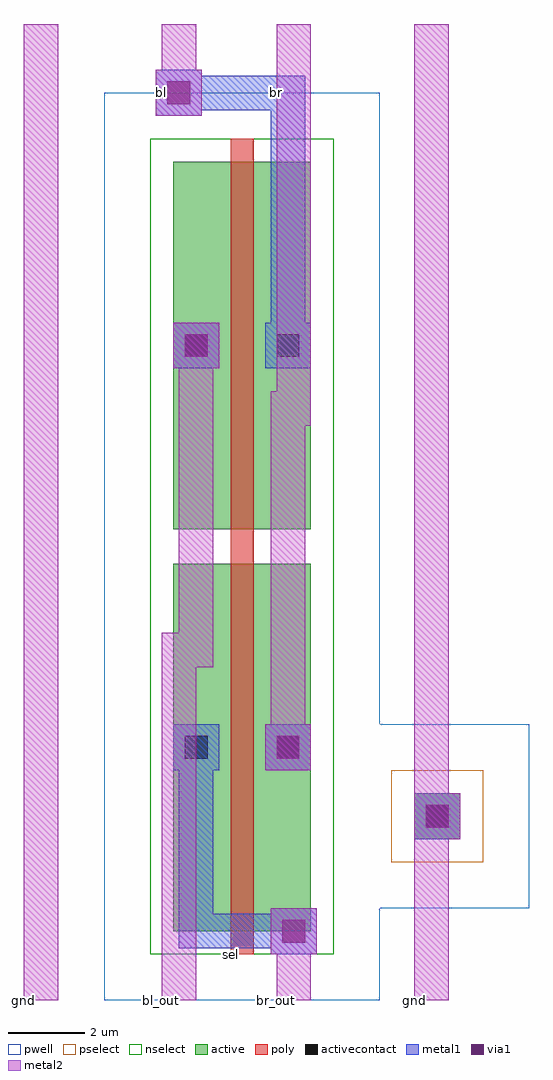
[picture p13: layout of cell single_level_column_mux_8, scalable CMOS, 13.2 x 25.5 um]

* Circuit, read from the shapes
.subckt single_level_column_mux_8 bl bl_out br br_out gnd sel
M1 br sel br_out gnd nfet w=9.6u l=0.6u
M2 bl sel bl_out gnd nfet w=9.6u l=0.6u
.ends

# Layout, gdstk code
import gdstk
lib = gdstk.Library(unit=1e-6, precision=1e-09)
def R(c, l, rs):  # rectangles x0, y0, x1, y1
    for r in rs: c.add(gdstk.rectangle(r[:2], r[2:], *l))
pwell = (41, 0)
active = (43, 0)
pselect = (44, 0)
nselect = (45, 0)
poly = (46, 0)
activecontact = (48, 0)
metal1 = (49, 0)
via1 = (50, 0)
metal2 = (51, 0)

active_contact_metal1_1x = lib.new_cell('active_contact_metal1_1x1_np')
R(active_contact_metal1_1x, pwell, [(-1.8,-1.8,3,3)])
R(active_contact_metal1_1x, active, [(0,0,1.2,1.2)])
R(active_contact_metal1_1x, nselect, [(-0.6,-0.6,1.8,1.8)])
R(active_contact_metal1_1x, activecontact, [(0.3,0.3,0.9,0.9)])
R(active_contact_metal1_1x, metal1, [(0,0,1.2,1.2)])

nmos_m1_w9_6 = lib.new_cell('nmos_m1_w9_6')
R(nmos_m1_w9_6, pwell, [(-1.8,-1.8,5.4,11.4)])
R(nmos_m1_w9_6, active, [(0,0,3.6,9.6)])
R(nmos_m1_w9_6, nselect, [(-0.6,-0.6,4.2,10.2)])
R(nmos_m1_w9_6, poly, [(1.5,-0.6,2.1,10.2), (1.5,-0.6,2.1,10.2)])
R(nmos_m1_w9_6, metal1, [(0,4.2,1.2,5.4), (2.4,4.2,3.6,5.4)])
nmos_m1_w9_6.add(gdstk.Reference(active_contact_metal1_1x, (0,4.2)))
nmos_m1_w9_6.add(gdstk.Reference(active_contact_metal1_1x, (2.4,4.2)))
nmos_m1_w9_6.add(gdstk.Label('S', (0,4.2), layer=49, texttype=0))
nmos_m1_w9_6.add(gdstk.Label('D', (2.4,4.2), layer=49, texttype=0))
nmos_m1_w9_6.add(gdstk.Label('G', (1.5,-0.6), layer=46, texttype=0))

metal1_via1_metal2_1x1 = lib.new_cell('metal1_via1_metal2_1x1')
R(metal1_via1_metal2_1x1, metal1, [(0,0,1.2,1.2), (0,0,1.2,1.2)])
R(metal1_via1_metal2_1x1, via1, [(0.3,0.3,0.9,0.9), (0.3,0.3,0.9,0.9)])
R(metal1_via1_metal2_1x1, metal2, [(0,0,1.2,1.2), (0,0,1.2,1.2)])

c_active_contact_metal1_1x = lib.new_cell('active_contact_metal1_1x1_pp')
R(c_active_contact_metal1_1x, pwell, [(-1.8,-1.8,3,3)])
R(c_active_contact_metal1_1x, active, [(0,0,1.2,1.2)])
R(c_active_contact_metal1_1x, pselect, [(-0.6,-0.6,1.8,1.8)])
R(c_active_contact_metal1_1x, activecontact, [(0.3,0.3,0.9,0.9)])
R(c_active_contact_metal1_1x, metal1, [(0,0,1.2,1.2)])

single_level_column_mux_ = lib.new_cell('single_level_column_mux_8')
R(single_level_column_mux_, poly, [(4.8,1.2,5.4,22.5)])
R(single_level_column_mux_, metal1, [(3.45,1.35,4.35,2.25), (3.9,1.35,6.45,2.25), (3.45,1.8,4.35,6.6), (5.85,17.1,6.75,23.7), (3,23.25,6.3,24.15), (5.85,23.25,6.75,24.15)])
R(single_level_column_mux_, metal2, [(-0.6,0,0.3,25.5), (3,0,3.9,1.8), (6,0,6.9,1.8), (9.6,0,10.5,25.5), (3,1.8,3.9,9.15), (5.85,7.2,6.75,15.45), (3,8.7,3.9,9.6), (3.45,8.7,4.35,9.6), (3.45,8.7,3.9,9.6), (3.45,9.15,4.35,16.5), (5.85,15,6.75,15.9), (6,15,6.9,15.9), (6.3,15,6.45,15.9), (6,15.45,6.9,23.7), (3,23.7,3.9,25.5), (6,23.7,6.9,25.5)])
single_level_column_mux_.add(gdstk.Reference(nmos_m1_w9_6, (3.3,1.8)))
single_level_column_mux_.add(gdstk.Reference(nmos_m1_w9_6, (3.3,12.3)))
single_level_column_mux_.add(gdstk.Reference(metal1_via1_metal2_1x1, (2.85,23.1)))
single_level_column_mux_.add(gdstk.Reference(metal1_via1_metal2_1x1, (5.85,1.2)))
single_level_column_mux_.add(gdstk.Reference(metal1_via1_metal2_1x1, (3.3,16.5)))
single_level_column_mux_.add(gdstk.Reference(metal1_via1_metal2_1x1, (5.7,6)))
single_level_column_mux_.add(gdstk.Reference(metal1_via1_metal2_1x1, (9.6,4.2)))
single_level_column_mux_.add(gdstk.Reference(c_active_contact_metal1_1x, (9.6,4.2)))
single_level_column_mux_.add(gdstk.Label('bl_out', (3,0), layer=51, texttype=0))
single_level_column_mux_.add(gdstk.Label('gnd', (-0.6,0), layer=51, texttype=0))
single_level_column_mux_.add(gdstk.Label('gnd', (9.6,0), layer=51, texttype=0))
single_level_column_mux_.add(gdstk.Label('br_out', (6,0), layer=51, texttype=0))
single_level_column_mux_.add(gdstk.Label('bl', (3,23.7), layer=51, texttype=0))
single_level_column_mux_.add(gdstk.Label('br', (6,23.7), layer=51, texttype=0))
single_level_column_mux_.add(gdstk.Label('sel', (4.8,1.2), layer=46, texttype=0))

lib.write_gds('single_level_column_mux_8.gds')
